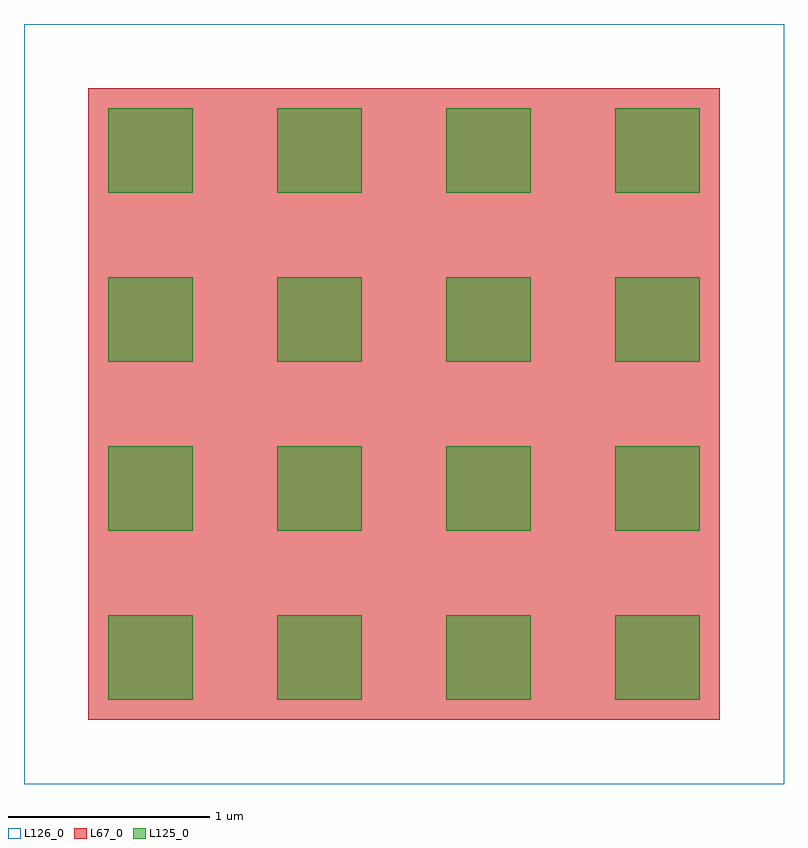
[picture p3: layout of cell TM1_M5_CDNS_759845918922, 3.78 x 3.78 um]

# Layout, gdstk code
import gdstk
lib = gdstk.Library(unit=1e-6, precision=1e-09)
def R(c, l, rs):  # rectangles x0, y0, x1, y1
    for r in rs: c.add(gdstk.rectangle(r[:2], r[2:], *l))
def A(c, l, x, y, w, h, nx, ny, dx, dy):  # array of equal rectangles
    R(c, l, [(x+i*dx, y+j*dy, x+i*dx+w, y+j*dy+h) for i in range(nx) for j in range(ny)])
L67_0 = (67, 0)
L125_0 = (125, 0)
L126_0 = (126, 0)

tm1_m5_cdns_759845918922 = lib.new_cell('TM1_M5_CDNS_759845918922')
R(tm1_m5_cdns_759845918922, L67_0, [(-1.57,-1.57,1.57,1.57)])
A(tm1_m5_cdns_759845918922, L125_0, -1.47, -1.47, 0.42, 0.42, 4, 4, 0.84, 0.84)
R(tm1_m5_cdns_759845918922, L126_0, [(-1.89,-1.89,1.89,1.89)])

lib.write_gds('TM1_M5_CDNS_759845918922.gds')
